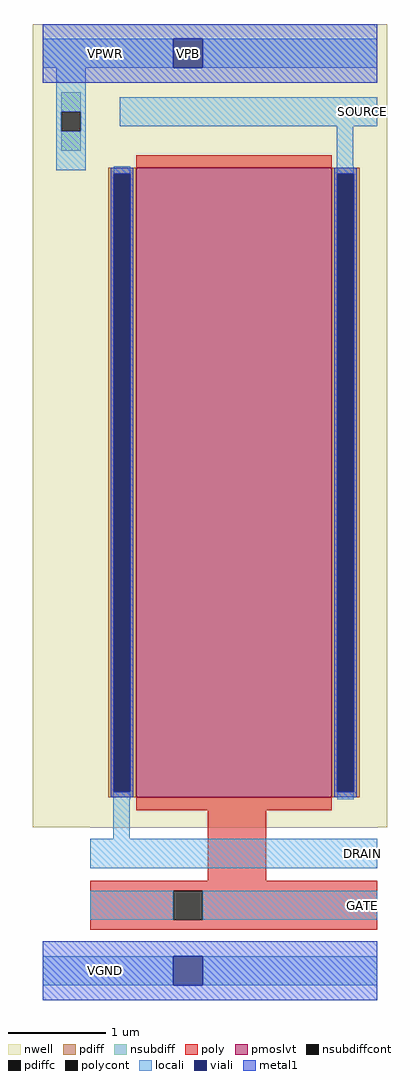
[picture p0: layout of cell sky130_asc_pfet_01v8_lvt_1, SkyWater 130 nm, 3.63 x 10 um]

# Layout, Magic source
magic
tech sky130A
magscale 1 2
<< nwell >>
rect -20 294 706 1940
rect 98 293 686 294
<< pmoslvt >>
rect 192 355 592 1645
<< pdiff >>
rect 134 1633 192 1645
rect 134 367 146 1633
rect 180 367 192 1633
rect 134 355 192 367
rect 592 1633 650 1645
rect 592 367 604 1633
rect 638 367 650 1633
rect 592 355 650 367
<< pdiffc >>
rect 146 367 180 1633
rect 604 367 638 1633
<< nsubdiff >>
rect 38 1760 78 1800
rect 38 1680 78 1720
<< nsubdiffcont >>
rect 38 1720 78 1760
<< poly >>
rect 192 1645 592 1671
rect 192 329 592 355
rect 338 184 458 329
rect 98 164 686 184
rect 98 104 268 164
rect 328 104 686 164
rect 98 84 686 104
<< polycont >>
rect 268 104 328 164
<< locali >>
rect 0 1850 268 1910
rect 328 1850 686 1910
rect 28 1760 88 1850
rect 28 1720 38 1760
rect 78 1720 88 1760
rect 158 1730 686 1790
rect 28 1640 88 1720
rect 603 1649 637 1730
rect 146 1633 180 1649
rect 145 367 146 374
rect 603 1633 638 1649
rect 603 1626 604 1633
rect 145 351 180 367
rect 604 351 638 367
rect 145 270 179 351
rect 98 210 686 270
rect 98 104 268 164
rect 328 104 686 164
rect 0 -30 268 30
rect 328 -30 686 30
<< viali >>
rect 268 1850 328 1910
rect 146 367 180 1633
rect 604 367 638 1633
rect 268 -30 328 30
<< metal1 >>
rect 0 1910 686 1940
rect 0 1850 268 1910
rect 328 1850 686 1910
rect 0 1820 686 1850
rect 140 1633 186 1645
rect 140 367 146 1633
rect 180 367 186 1633
rect 140 355 186 367
rect 598 1633 644 1645
rect 598 367 604 1633
rect 638 367 644 1633
rect 598 355 644 367
rect 0 30 686 60
rect 0 -30 268 30
rect 328 -30 686 30
rect 0 -60 686 -30
<< labels >>
flabel nwell 268 1850 328 1910 1 FreeSans 800 0 0 0 VPB
port 4 n power bidirectional
flabel metal1 98 1850 158 1910 1 FreeSans 800 0 0 0 VPWR
port 5 n power bidirectional
flabel metal1 98 -30 158 30 1 FreeSans 800 0 0 0 VGND
port 6 n ground bidirectional
flabel locali 626 1730 686 1790 1 FreeSans 800 0 0 0 SOURCE
port 2 n signal bidirectional
flabel locali 626 210 686 270 1 FreeSans 800 0 0 0 DRAIN
port 3 n signal bidirectional
flabel locali 626 104 686 164 1 FreeSans 800 0 0 0 GATE
port 1 n signal bidirectional
<< properties >>
string FIXED_BBOX 0 0 686 1880
string LEFclass CORE
string LEFsite unitasc
<< end >>
